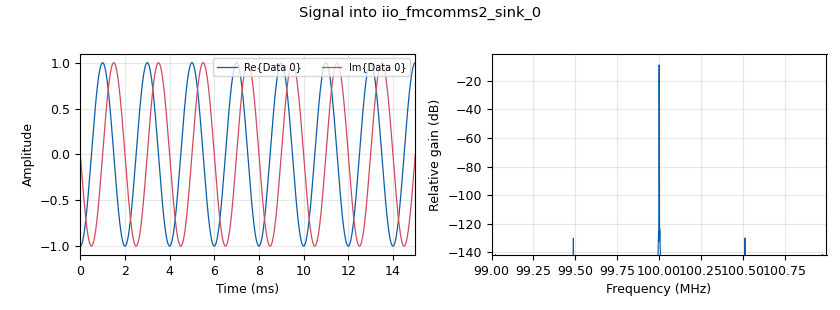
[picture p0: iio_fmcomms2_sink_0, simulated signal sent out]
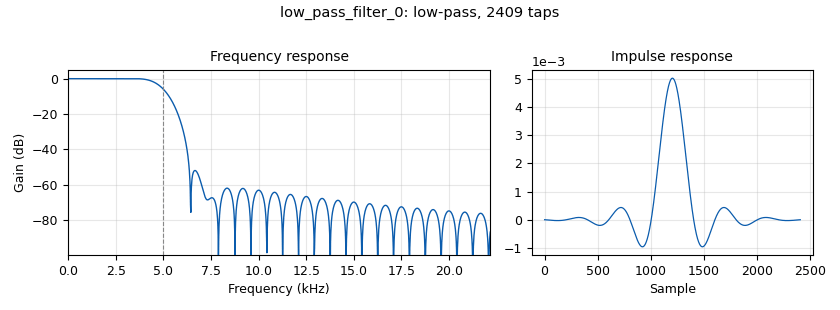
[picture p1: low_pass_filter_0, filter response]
options:
  parameters:
    author: ubuntu
    generate_options: qt_gui
    id: nTSDR_Test
    output_language: python
    title: Not titled yet
  states: {}

blocks:
- name: Rx1_path
  id: variable
  parameters:
    value: '"/home/ubuntu/nTSDR_Local_Testing/fileOutputRx1"'
  states: {}
- name: Rx2_path
  id: variable
  parameters:
    value: '"/home/ubuntu/nTSDR_Local_Testing/fileOutputRx2"'
  states: {}
- name: baseband
  id: variable
  parameters:
    value: '500'
  states: {}
- name: freq
  id: variable
  parameters:
    value: '100000000'
  states: {}
- name: pluto1
  id: variable
  parameters:
    value: '"ip:192.168.2.1"'
  states: {}
- name: samp_rate
  id: variable
  parameters:
    value: '2000000'
  states: {}
- name: analog_sig_source_x_0
  id: analog_sig_source_x
  parameters:
    amp: '1'
    freq: baseband
    offset: '0'
    phase: '0'
    samp_rate: samp_rate
    type: complex
    waveform: analog.GR_COS_WAVE
  states: {}
- name: blocks_file_sink_0_0
  id: blocks_file_sink
  parameters:
    file: Rx1_path
    type: complex
  states: {}
- name: blocks_file_sink_0_0_0
  id: blocks_file_sink
  parameters:
    file: Rx2_path
    type: complex
  states: {}
- name: iio_fmcomms2_sink_0
  id: iio_fmcomms2_sink
  parameters:
    bandwidth: '20000000'
    buffer_size: '32768'
    cyclic: 'False'
    filter_source: '''Auto'''
    frequency: freq
    rf_port_select: '''A'''
    samplerate: samp_rate
    tx1_en: 'True'
    tx2_en: 'False'
    type: fc32
    uri: pluto1
  states: {}
- name: iio_fmcomms2_source_0
  id: iio_fmcomms2_source
  parameters:
    bandwidth: '20000000'
    bbdc: 'True'
    buffer_size: '32768'
    filter_source: '''Auto'''
    frequency: freq
    gain1: '''manual'''
    gain2: '''manual'''
    manual_gain1: '64'
    manual_gain2: '64'
    quadrature: 'True'
    rf_port_select: '''A_BALANCED'''
    rfdc: 'True'
    rx1_en: 'True'
    rx2_en: 'True'
    samplerate: samp_rate
    type: fc32
    uri: pluto1
  states: {}
- name: low_pass_filter_0
  id: low_pass_filter
  parameters:
    cutoff_freq: '5000'
    decim: '1'
    gain: '1'
    samp_rate: samp_rate
    type: fir_filter_ccf
    width: '2000'
    win: window.WIN_HAMMING
  states: {}
- name: low_pass_filter_1
  id: low_pass_filter
  parameters:
    cutoff_freq: '5000'
    decim: '1'
    gain: '1'
    samp_rate: samp_rate
    type: fir_filter_ccf
    width: '2000'
    win: window.WIN_HAMMING
  states: {}
- name: nTSDR_Local_phaseLock_Local_1
  id: nTSDR_Local_phaseLock_Local
  parameters:
    num_channels: '2'
  states: {}
- name: note_0
  id: note
  parameters:
    note: Tx1
  states: {}
- name: note_1
  id: note
  parameters:
    note: Rx1
  states: {}
- name: note_1_0
  id: note
  parameters:
    note: Rx2
  states: {}
- name: qtgui_freq_sink_x_0
  id: qtgui_freq_sink_x
  parameters:
    bw: samp_rate
    ctrlpanel: 'True'
    fc: '0'
    fftsize: '1024'
    label1: Unchanged - Rx1
    label2: Phase Adjusted - Rx2
    name: '"Frequency"'
    nconnections: '2'
    type: complex
    ymax: '-40'
    ymin: '-150'
  states: {state: disabled}
- name: qtgui_time_sink_x_0
  id: qtgui_time_sink_x
  parameters:
    alpha3: '0'
    alpha4: '0'
    ctrlpanel: 'True'
    label1: Unchanged - Rx1
    label2: Phase Adjusted - Rx2
    label3: ''
    label4: ''
    name: Time
    nconnections: '2'
    size: '1024'
    srate: samp_rate
    style3: '0'
    style4: '0'
    type: complex
    width3: '0'
    width4: '0'
    ymax: '0.05'
    ymin: '-0.05'
  states: {state: disabled}

connections:
- [analog_sig_source_x_0, '0', iio_fmcomms2_sink_0, '0']
- [iio_fmcomms2_source_0, '0', low_pass_filter_0, '0']
- [iio_fmcomms2_source_0, '1', low_pass_filter_1, '0']
- [low_pass_filter_0, '0', nTSDR_Local_phaseLock_Local_1, '0']
- [low_pass_filter_0, '0', qtgui_freq_sink_x_0, '0']
- [low_pass_filter_1, '0', nTSDR_Local_phaseLock_Local_1, '1']
- [low_pass_filter_1, '0', qtgui_time_sink_x_0, '0']
- [nTSDR_Local_phaseLock_Local_1, '0', blocks_file_sink_0_0, '0']
- [nTSDR_Local_phaseLock_Local_1, '0', qtgui_freq_sink_x_0, '1']
- [nTSDR_Local_phaseLock_Local_1, '1', blocks_file_sink_0_0_0, '0']
- [nTSDR_Local_phaseLock_Local_1, '1', qtgui_time_sink_x_0, '1']

metadata:
  file_format: 1
  grc_version: 3.10.7.0
